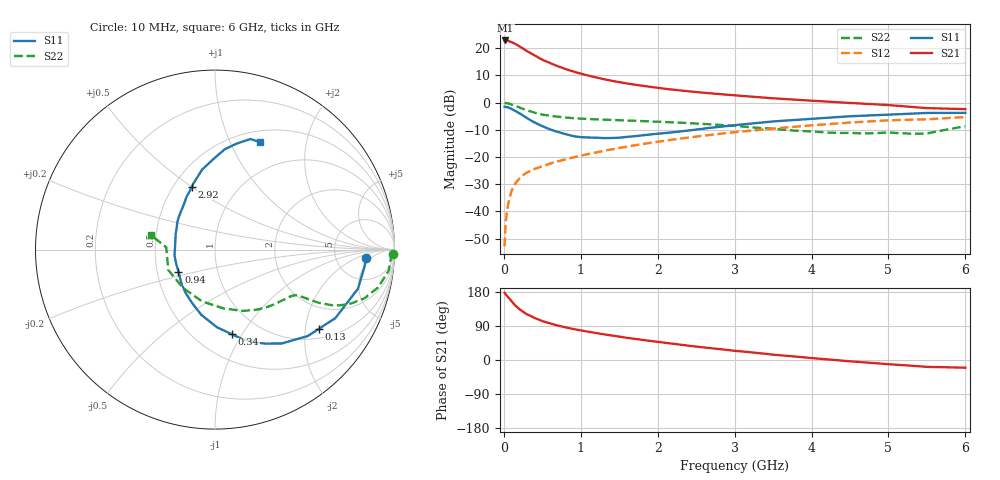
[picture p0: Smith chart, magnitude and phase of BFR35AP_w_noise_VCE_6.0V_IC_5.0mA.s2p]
! Infineon Technologies  Discrete & RF Semiconductors
! BFR35AP
! VCE =  6.0 V,  IC =  5.0 mA
! Common Emitter S-Parameters:  Nov 2015
# GHz  S  MA  R  50
!  f  S11  S21  S12  S22
! GHz  MAG  ANG  MAG  ANG  MAG  ANG  MAG  ANG
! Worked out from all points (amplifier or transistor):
!   210 points, 10 MHz to 6 GHz, reference 50 ohm
!   highest |S21| = 22.9 dB at 20 MHz (marker M1)
!   |S21| within 3 dB of that: start of sweep to 248.9 MHz
!   unconditionally stable (mu >= 1): 835.9 MHz to 3.16 GHz
!   at 185 MHz: K = 0.37, MSG = 24.7 dB, |S12| = -28.5 dB
!   at 1.52 GHz: K = 1.11, MAG = 10.0 dB, |S12| = -16.6 dB
!   at 6 GHz: K = 0.92, MSG = 1.5 dB, |S12| = -5.3 dB
!   lowest NFmin = 1.50 dB at 450 MHz
!   S11 on the Smith chart (normalised r, x): 10 MHz: 11, -3; 130 MHz: 1.26, -2.37; 340 MHz: 0.74, -0.90; 940 MHz: 0.64, -0.17; 2.92 GHz: 0.62, +0.50; 6 GHz: 0.63, +1.30
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0.01  0.8416 -3.1  13.88 177.3  0.0023 90.9  0.9934 -1.3
0.02  0.839 -6.3  13.92 174.4  0.0049 88.7  0.9814 -2.7
0.05  0.8259 -15.3  13.84 167.0  0.0121 82.0  0.9752 -6.9
0.1  0.7714 -29.7  13.01 155.1  0.0237 74.8  0.9323 -13.1
0.13  0.7275 -37.4  12.37 148.4  0.0291 70.7  0.8979 -16.0
0.15  0.7063 -43.0  12.04 143.5  0.0328 68.8  0.8763 -18.0
0.2  0.6417 -54.6  10.98 134.6  0.04 65.0  0.8179 -21.5
0.26  0.5686 -65.8  9.624 125.8  0.0478 60.9  0.7575 -24.2
0.3  0.5204 -73.2  8.881 120.6  0.052 59.8  0.7235 -25.4
0.34  0.4813 -78.7  8.251 117.1  0.0554 58.9  0.6945 -26.0
0.4  0.4326 -88.6  7.376 110.8  0.0604 57.8  0.6513 -27.1
0.5  0.3708 -102.0  6.158 102.7  0.0678 57.1  0.603 -27.8
0.6  0.3231 -113.4  5.322 96.4  0.0761 57.3  0.5733 -28.2
0.94  0.238 -148.7  3.608 80.4  0.1015 58.7  0.5142 -29.7
1.02  0.2315 -156.8  3.355 77.3  0.1077 58.9  0.5067 -30.3
1.4  0.2239 172.5  2.524 64.6  0.1384 58.9  0.4824 -34.4
2.02  0.2703 138.6  1.852 47.3  0.1931 56.5  0.4457 -43.7
2.92  0.374 110.1  1.394 26.2  0.2783 49.4  0.3805 -63.4
3.1  0.3975 106.4  1.33 22.5  0.2954 47.4  0.3639 -68.6
4.1  0.5154 89.6  1.066 3.4  0.3917 36.1  0.2889 -109.0
5.1  0.6105 77.2  0.88 -12.4  0.4774 22.1  0.2771 -161.4
6  0.6491 67.2  0.761 -20.3  0.5444 11.4  0.3679 167.0
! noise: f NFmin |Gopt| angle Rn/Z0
0.45  1.5  0.28  29  0.34
0.9  1.8  0.25  59  0.34
